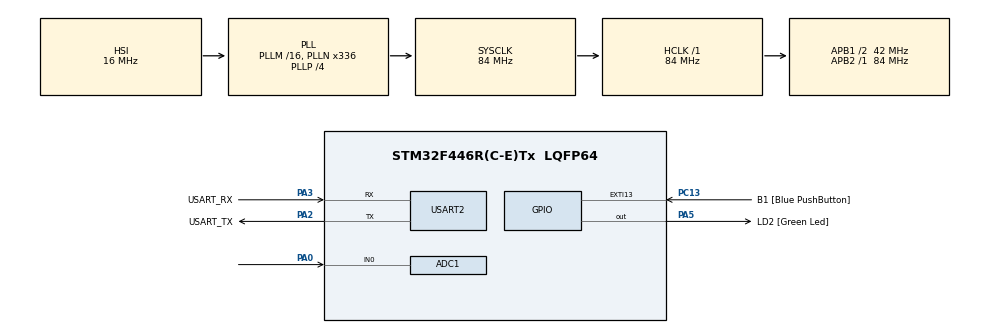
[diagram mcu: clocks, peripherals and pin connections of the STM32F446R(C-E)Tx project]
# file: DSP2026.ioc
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ADC1.Channel-2\#ChannelRegularConversion=ADC_CHANNEL_0
ADC1.ClockPrescaler=ADC_CLOCK_SYNC_PCLK_DIV8
ADC1.ContinuousConvMode=ENABLE
ADC1.DMAContinuousRequests=ENABLE
ADC1.NbrOfConversionFlag=1
ADC1.Rank-2\#ChannelRegularConversion=1
ADC1.SamplingTime-2\#ChannelRegularConversion=ADC_SAMPLETIME_480CYCLES
ADC1.master=1
Dma.ADC1.0.Direction=DMA_PERIPH_TO_MEMORY
Dma.ADC1.0.FIFOMode=DMA_FIFOMODE_DISABLE
Dma.ADC1.0.Instance=DMA2_Stream0
Dma.ADC1.0.MemDataAlignment=DMA_MDATAALIGN_HALFWORD
Dma.ADC1.0.MemInc=DMA_MINC_ENABLE
Dma.ADC1.0.Mode=DMA_CIRCULAR
Dma.ADC1.0.PeriphDataAlignment=DMA_PDATAALIGN_HALFWORD
Dma.ADC1.0.PeriphInc=DMA_PINC_DISABLE
Dma.ADC1.0.Priority=DMA_PRIORITY_LOW
Dma.Request0=ADC1
Mcu.Family=STM32F4
Mcu.Name=STM32F446R(C-E)Tx
Mcu.Package=LQFP64
NVIC.DMA2_Stream0_IRQn=true\:1\:0\:true\:false\:true\:false\:true\:true
NVIC.PriorityGroup=NVIC_PRIORITYGROUP_2
NVIC.TIM1_UP_TIM10_IRQn=true\:1\:1\:true\:false\:true\:false\:true\:true
NVIC.TIM7_IRQn=true\:3\:0\:true\:false\:true\:true\:true\:true
NVIC.TimeBase=TIM1_UP_TIM10_IRQn
NVIC.TimeBaseIP=TIM10
PA0-WKUP.Signal=ADCx_IN0
PA13.GPIO_Label=TMS
PA13.Mode=Serial_Wire
PA13.Signal=SYS_JTMS-SWDIO
PA14.GPIO_Label=TCK
PA14.Mode=Serial_Wire
PA14.Signal=SYS_JTCK-SWCLK
PA2.GPIO_Label=USART_TX
PA2.Mode=Asynchronous
PA2.Signal=USART2_TX
PA3.GPIO_Label=USART_RX
PA3.Mode=Asynchronous
PA3.Signal=USART2_RX
PA5.GPIO_Label=LD2 [Green Led]
PA5.Signal=GPIO_Output
PB3.GPIO_Label=SWO
PB3.Signal=SYS_JTDO-SWO
PC13.GPIO_Label=B1 [Blue PushButton]
PC13.GPIO_ModeDefaultEXTI=GPIO_MODE_IT_FALLING
PC13.Signal=GPXTI13
PC14-OSC32_IN.Mode=LSE-External-Oscillator
PC14-OSC32_IN.Signal=RCC_OSC32_IN
PC15-OSC32_OUT.Mode=LSE-External-Oscillator
PC15-OSC32_OUT.Signal=RCC_OSC32_OUT
PH0-OSC_IN.Mode=HSE-External-Oscillator
PH0-OSC_IN.Signal=RCC_OSC_IN
PH1-OSC_OUT.Mode=HSE-External-Oscillator
PH1-OSC_OUT.Signal=RCC_OSC_OUT
ProjectManager.HeapSize=0x200
ProjectManager.StackSize=0x400
ProjectManager.TargetToolchain=STM32CubeIDE
RCC.48MHZClocksFreq_Value=84000000
RCC.AHBFreq_Value=84000000
RCC.APB1CLKDivider=RCC_HCLK_DIV2
RCC.APB1Freq_Value=42000000
RCC.APB1TimFreq_Value=84000000
RCC.APB2Freq_Value=84000000
RCC.APB2TimFreq_Value=84000000
RCC.CortexFreq_Value=84000000
RCC.FLatency-AdvancedSettings=FLASH_LATENCY_2
RCC.HCLKFreq_Value=84000000
RCC.HSE_VALUE=8000000
RCC.HSI_VALUE=16000000
RCC.PLLN=336
RCC.PLLP=RCC_PLLP_DIV4
RCC.SYSCLKFreq_VALUE=84000000
RCC.SYSCLKSource=RCC_SYSCLKSOURCE_PLLCLK
RCC.USBFreq_Value=168000000
RCC.VCOOutputFreq_Value=336000000
SH.ADCx_IN0.0=ADC1_IN0,IN0
TIM7.Period=840
TIM7.TIM_MasterOutputTrigger=TIM_TRGO_UPDATE
USART2.VirtualMode=VM_ASYNC
VP_SYS_VS_tim10.Mode=TIM10
VP_TIM6_VS_ClockSourceINT.Mode=Enable_Timer
VP_TIM7_VS_ClockSourceINT.Mode=Enable_Timer
board=NUCLEO-F446RE

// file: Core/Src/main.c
/* USER CODE BEGIN Header */
/**
  ******************************************************************************
  * @file           : main.c
  * @brief          : Main program body
  ******************************************************************************
  * @attention
  *
  * Copyright (c) 2026 STMicroelectronics.
  * All rights reserved.
  *
  * This software is licensed under terms that can be found in the LICENSE file
  * in the root directory of this software component.
  * If no LICENSE file comes with this software, it is provided AS-IS.
  *
  ******************************************************************************
  */
/* USER CODE END Header */
#include "main.h"

/* USER CODE BEGIN Includes */
#include "arm_math.h"
/* USER CODE END Includes */

/* USER CODE BEGIN PM */
#define BLOCK_SIZE 64
/* USER CODE END PM */

ADC_HandleTypeDef hadc1;
DMA_HandleTypeDef hdma_adc1;

TIM_HandleTypeDef htim6;
TIM_HandleTypeDef htim7;

UART_HandleTypeDef huart2;

/* USER CODE BEGIN PV */
uint16_t  adcBuffer[BLOCK_SIZE];
float32_t floatBuffer[BLOCK_SIZE];
float32_t prevBuffer[BLOCK_SIZE] = {0};
float32_t sumBuffer[BLOCK_SIZE];
float32_t rmsValue;
volatile uint8_t adcReady = 0;
/* USER CODE END PV */

void SystemClock_Config(void);
static void MX_GPIO_Init(void);
static void MX_DMA_Init(void);
static void MX_USART2_UART_Init(void);
static void MX_ADC1_Init(void);
static void MX_TIM7_Init(void);
static void MX_TIM6_Init(void);

int main(void)
{

  /* MCU Configuration--------------------------------------------------------*/

  /* Reset of all peripherals, Initializes the Flash interface and the Systick. */
  HAL_Init();

  /* Configure the system clock */
  SystemClock_Config();

  /* Initialize all configured peripherals */
  MX_GPIO_Init();
  MX_DMA_Init();
  MX_USART2_UART_Init();
  MX_ADC1_Init();
  MX_TIM7_Init();
  MX_TIM6_Init();
  /* USER CODE BEGIN 2 */
  HAL_ADC_Start_DMA(&hadc1, (uint32_t*)adcBuffer, BLOCK_SIZE);
  /* USER CODE END 2 */

  /* Infinite loop */
  while (1)
  {

    /* USER CODE BEGIN 3 */
    if (adcReady)
    {
        adcReady = 0;

        for (int i = 0; i < BLOCK_SIZE; i++)
        {
            floatBuffer[i] = ((float32_t)adcBuffer[i] - 2048.0f) / 2048.0f;
        }

        arm_add_f32(floatBuffer, prevBuffer, sumBuffer, BLOCK_SIZE);
        arm_copy_f32(floatBuffer, prevBuffer, BLOCK_SIZE);

        arm_rms_f32(sumBuffer, BLOCK_SIZE, &rmsValue);

        if (rmsValue > 1.90f)
            HAL_GPIO_WritePin(GPIOA, GPIO_PIN_5, GPIO_PIN_SET);
        else
            HAL_GPIO_WritePin(GPIOA, GPIO_PIN_5, GPIO_PIN_RESET);
    }
  }
  /* USER CODE END 3 */
}

void SystemClock_Config(void)
{
  RCC_OscInitTypeDef RCC_OscInitStruct = {0};
  RCC_ClkInitTypeDef RCC_ClkInitStruct = {0};

  /** Configure the main internal regulator output voltage
  */
  __HAL_RCC_PWR_CLK_ENABLE();
  __HAL_PWR_VOLTAGESCALING_CONFIG(PWR_REGULATOR_VOLTAGE_SCALE3);

  /** Initializes the RCC Oscillators according to the specified parameters
  * in the RCC_OscInitTypeDef structure.
  */
  RCC_OscInitStruct.OscillatorType = RCC_OSCILLATORTYPE_HSI;
  RCC_OscInitStruct.HSIState = RCC_HSI_ON;
  RCC_OscInitStruct.HSICalibrationValue = RCC_HSICALIBRATION_DEFAULT;
  RCC_OscInitStruct.PLL.PLLState = RCC_PLL_ON;
  RCC_OscInitStruct.PLL.PLLSource = RCC_PLLSOURCE_HSI;
  RCC_OscInitStruct.PLL.PLLM = 16;
  RCC_OscInitStruct.PLL.PLLN = 336;
  RCC_OscInitStruct.PLL.PLLP = RCC_PLLP_DIV4;
  RCC_OscInitStruct.PLL.PLLQ = 2;
  RCC_OscInitStruct.PLL.PLLR = 2;
  if (HAL_RCC_OscConfig(&RCC_OscInitStruct) != HAL_OK)
  {
    Error_Handler();
  }

  /** Initializes the CPU, AHB and APB buses clocks
  */
  RCC_ClkInitStruct.ClockType = RCC_CLOCKTYPE_HCLK|RCC_CLOCKTYPE_SYSCLK
                              |RCC_CLOCKTYPE_PCLK1|RCC_CLOCKTYPE_PCLK2;
  RCC_ClkInitStruct.SYSCLKSource = RCC_SYSCLKSOURCE_PLLCLK;
  RCC_ClkInitStruct.AHBCLKDivider = RCC_SYSCLK_DIV1;
  RCC_ClkInitStruct.APB1CLKDivider = RCC_HCLK_DIV2;
  RCC_ClkInitStruct.APB2CLKDivider = RCC_HCLK_DIV1;

  if (HAL_RCC_ClockConfig(&RCC_ClkInitStruct, FLASH_LATENCY_2) != HAL_OK)
  {
    Error_Handler();
  }
}

static void MX_ADC1_Init(void)
{

  ADC_ChannelConfTypeDef sConfig = {0};

  /** Configure the global features of the ADC (Clock, Resolution, Data Alignment and number of conversion)
  */
  hadc1.Instance = ADC1;
  hadc1.Init.ClockPrescaler = ADC_CLOCK_SYNC_PCLK_DIV8;
  hadc1.Init.Resolution = ADC_RESOLUTION_12B;
  hadc1.Init.ScanConvMode = DISABLE;
  hadc1.Init.ContinuousConvMode = ENABLE;
  hadc1.Init.DiscontinuousConvMode = DISABLE;
  hadc1.Init.ExternalTrigConvEdge = ADC_EXTERNALTRIGCONVEDGE_NONE;
  hadc1.Init.ExternalTrigConv = ADC_SOFTWARE_START;
  hadc1.Init.DataAlign = ADC_DATAALIGN_RIGHT;
  hadc1.Init.NbrOfConversion = 1;
  hadc1.Init.DMAContinuousRequests = ENABLE;
  hadc1.Init.EOCSelection = ADC_EOC_SINGLE_CONV;
  if (HAL_ADC_Init(&hadc1) != HAL_OK)
  {
    Error_Handler();
  }

  /** Configure for the selected ADC regular channel its corresponding rank in the sequencer and its sample time.
  */
  sConfig.Channel = ADC_CHANNEL_0;
  sConfig.Rank = 1;
  sConfig.SamplingTime = ADC_SAMPLETIME_480CYCLES;
  if (HAL_ADC_ConfigChannel(&hadc1, &sConfig) != HAL_OK)
  {
    Error_Handler();
  }

}

static void MX_TIM6_Init(void)
{

  TIM_MasterConfigTypeDef sMasterConfig = {0};

  htim6.Instance = TIM6;
  htim6.Init.Prescaler = 0;
  htim6.Init.CounterMode = TIM_COUNTERMODE_UP;
  htim6.Init.Period = 65535;
  htim6.Init.AutoReloadPreload = TIM_AUTORELOAD_PRELOAD_DISABLE;
  if (HAL_TIM_Base_Init(&htim6) != HAL_OK)
  {
    Error_Handler();
  }
  sMasterConfig.MasterOutputTrigger = TIM_TRGO_RESET;
  sMasterConfig.MasterSlaveMode = TIM_MASTERSLAVEMODE_DISABLE;
  if (HAL_TIMEx_MasterConfigSynchronization(&htim6, &sMasterConfig) != HAL_OK)
  {
    Error_Handler();
  }

}

static void MX_TIM7_Init(void)
{

  TIM_MasterConfigTypeDef sMasterConfig = {0};

  htim7.Instance = TIM7;
  htim7.Init.Prescaler = 0;
  htim7.Init.CounterMode = TIM_COUNTERMODE_UP;
  htim7.Init.Period = 840;
  htim7.Init.AutoReloadPreload = TIM_AUTORELOAD_PRELOAD_DISABLE;
  if (HAL_TIM_Base_Init(&htim7) != HAL_OK)
  {
    Error_Handler();
  }
  sMasterConfig.MasterOutputTrigger = TIM_TRGO_UPDATE;
  sMasterConfig.MasterSlaveMode = TIM_MASTERSLAVEMODE_DISABLE;
  if (HAL_TIMEx_MasterConfigSynchronization(&htim7, &sMasterConfig) != HAL_OK)
  {
    Error_Handler();
  }

}

static void MX_USART2_UART_Init(void)
{

  huart2.Instance = USART2;
  huart2.Init.BaudRate = 115200;
  huart2.Init.WordLength = UART_WORDLENGTH_8B;
  huart2.Init.StopBits = UART_STOPBITS_1;
  huart2.Init.Parity = UART_PARITY_NONE;
  huart2.Init.Mode = UART_MODE_TX_RX;
  huart2.Init.HwFlowCtl = UART_HWCONTROL_NONE;
  huart2.Init.OverSampling = UART_OVERSAMPLING_16;
  if (HAL_UART_Init(&huart2) != HAL_OK)
  {
    Error_Handler();
  }

}

static void MX_DMA_Init(void)
{

  /* DMA controller clock enable */
  __HAL_RCC_DMA2_CLK_ENABLE();

  /* DMA interrupt init */
  /* DMA2_Stream0_IRQn interrupt configuration */
  HAL_NVIC_SetPriority(DMA2_Stream0_IRQn, 1, 0);
  HAL_NVIC_EnableIRQ(DMA2_Stream0_IRQn);

}

static void MX_GPIO_Init(void)
{
  GPIO_InitTypeDef GPIO_InitStruct = {0};

  /* GPIO Ports Clock Enable */
  __HAL_RCC_GPIOC_CLK_ENABLE();
  __HAL_RCC_GPIOH_CLK_ENABLE();
  __HAL_RCC_GPIOA_CLK_ENABLE();
  __HAL_RCC_GPIOB_CLK_ENABLE();

  /*Configure GPIO pin Output Level */
  HAL_GPIO_WritePin(LD2_GPIO_Port, LD2_Pin, GPIO_PIN_RESET);

  /*Configure GPIO pin : B1_Pin */
  GPIO_InitStruct.Pin = B1_Pin;
  GPIO_InitStruct.Mode = GPIO_MODE_IT_FALLING;
  GPIO_InitStruct.Pull = GPIO_NOPULL;
  HAL_GPIO_Init(B1_GPIO_Port, &GPIO_InitStruct);

  /*Configure GPIO pin : LD2_Pin */
  GPIO_InitStruct.Pin = LD2_Pin;
  GPIO_InitStruct.Mode = GPIO_MODE_OUTPUT_PP;
  GPIO_InitStruct.Pull = GPIO_NOPULL;
  GPIO_InitStruct.Speed = GPIO_SPEED_FREQ_LOW;
  HAL_GPIO_Init(LD2_GPIO_Port, &GPIO_InitStruct);

}

/* USER CODE BEGIN 4 */
void HAL_ADC_ConvCpltCallback(ADC_HandleTypeDef* hadc)
{
    if (hadc->Instance == ADC1)
        adcReady = 1;
}
/* USER CODE END 4 */

void HAL_TIM_PeriodElapsedCallback(TIM_HandleTypeDef *htim)
{
  if (htim->Instance == TIM10)
  {
    HAL_IncTick();
  }
}

void Error_Handler(void)
{
  __disable_irq();
  while (1)
  {
  }
}
